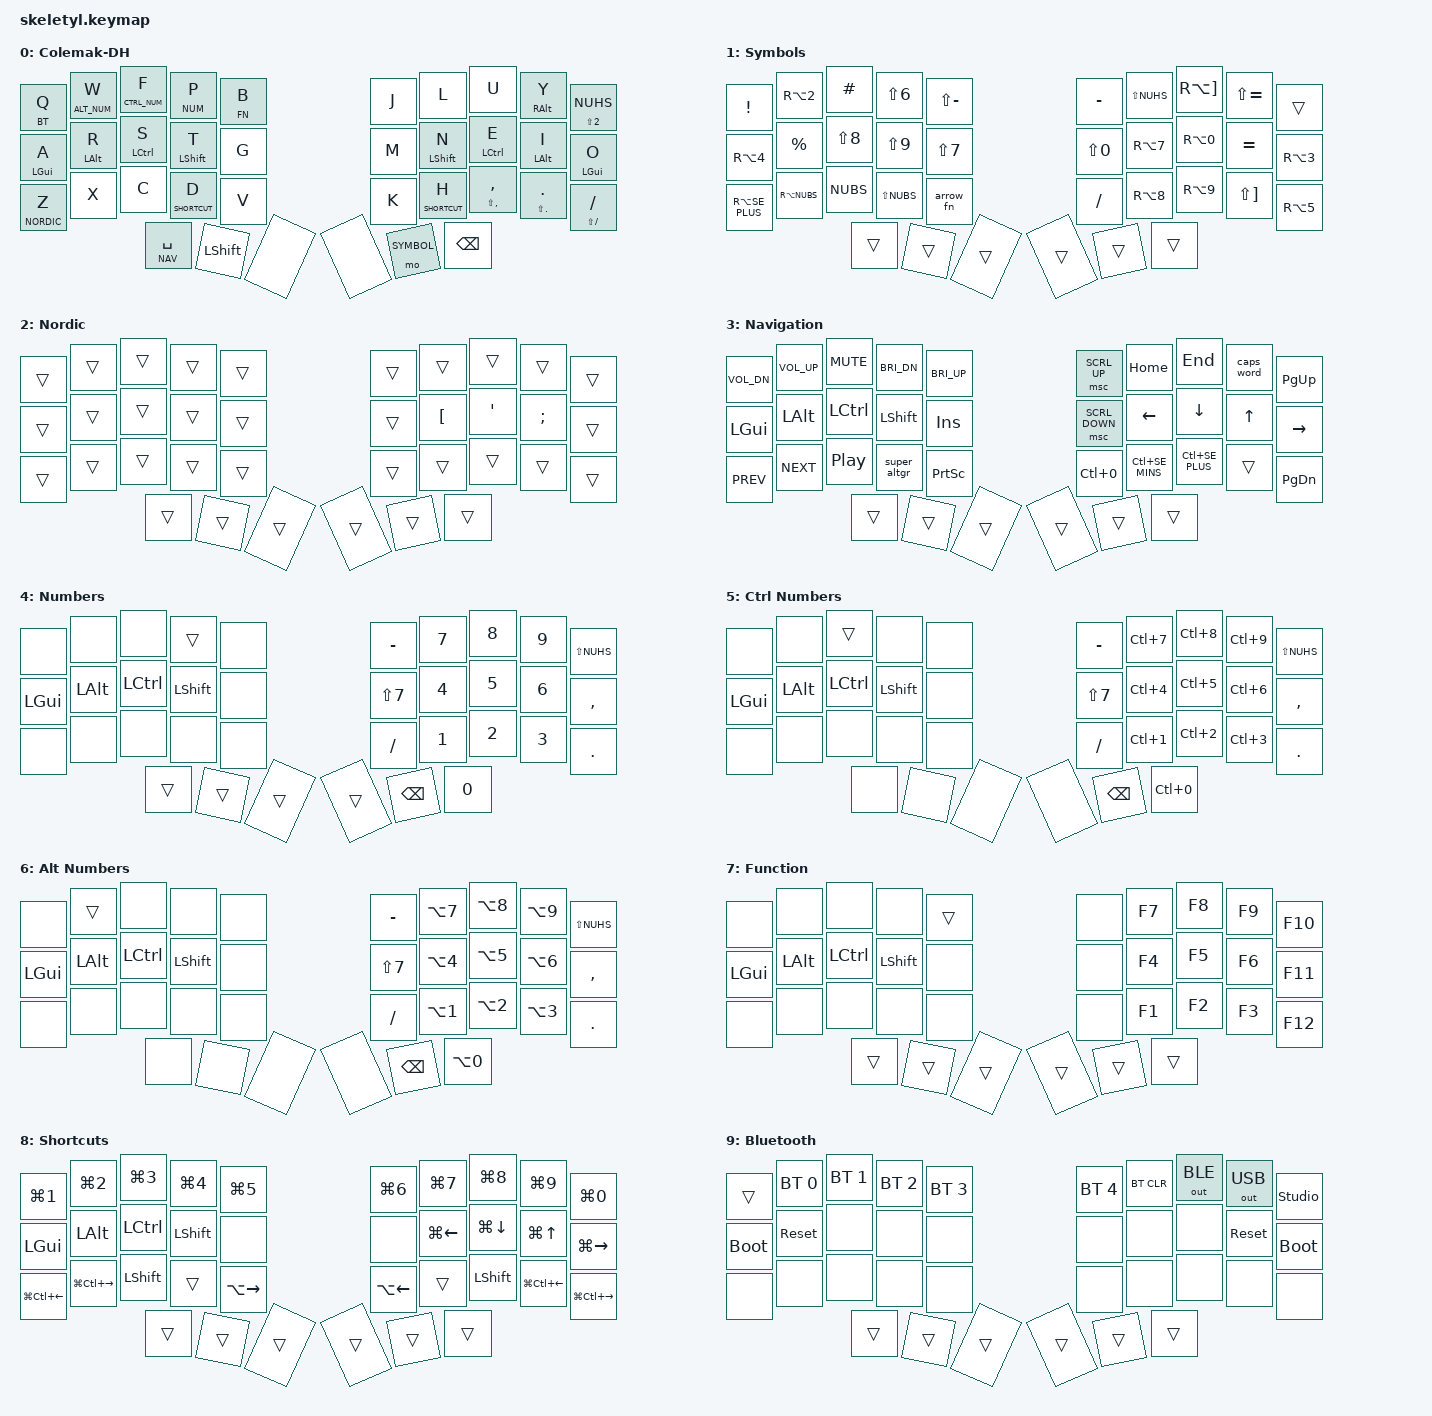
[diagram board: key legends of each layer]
#include <behaviors.dtsi>
#include <dt-bindings/zmk/keys.h>
#include <dt-bindings/zmk/bt.h>
#include <dt-bindings/zmk/outputs.h>
#include <dt-bindings/zmk/pointing.h>

#define BASE      0
#define SYMBOL    1
#define NORDIC    2
#define NAV       3
#define NUM       4
#define CTRL_NUM  5
#define ALT_NUM   6
#define FN        7
#define SHORTCUT  8
#define BT        9

// Swedish host-layout keycodes used by the original Moonlander keymap.
#define SE_APOS NUHS
#define SE_DQUO LS(N2)
#define SE_SCLN LS(COMMA)
#define SE_COLN LS(DOT)
#define SE_MINS FSLH
#define SE_UNDS LS(FSLH)
#define SE_AT RA(N2)
#define SE_AMPR LS(N6)
#define SE_QUES LS(MINUS)
#define SE_DLR RA(N4)
#define SE_LPRN LS(N8)
#define SE_RPRN LS(N9)
#define SE_SLSH LS(N7)
#define SE_PLUS MINUS
#define SE_PIPE RA(NUBS)
#define SE_LESS NUBS
#define SE_GRTR LS(NUBS)
#define SE_ASTR LS(NUHS)
#define SE_TILD RA(RBKT)
#define SE_GRV LS(EQUAL)
#define SE_EQL LS(N0)
#define SE_LCBR RA(N7)
#define SE_RCBR RA(N0)
#define SE_ACUT EQUAL
#define SE_PND RA(N3)
#define SE_LBRC RA(N8)
#define SE_RBRC RA(N9)
#define SE_CIRC LS(RBKT)
#define SE_EURO RA(N5)
#define SE_AA LBKT
#define SE_ADIA SQT
#define SE_OSLH SEMI

/ {
    behaviors {
        hm: home_row_mod {
            compatible = "zmk,behavior-hold-tap";
            #binding-cells = <2>;
            flavor = "balanced";
            tapping-term-ms = <220>;
            quick-tap-ms = <0>;
            bindings = <&kp>, <&kp>;
        };

        lh: layer_hold {
            compatible = "zmk,behavior-hold-tap";
            #binding-cells = <2>;
            flavor = "balanced";
            tapping-term-ms = <220>;
            quick-tap-ms = <0>;
            bindings = <&mo>, <&kp>;
        };

        // The Moonlander used a shorter tapping term for P.
        plh: p_layer_hold {
            compatible = "zmk,behavior-hold-tap";
            #binding-cells = <2>;
            flavor = "balanced";
            tapping-term-ms = <160>;
            quick-tap-ms = <0>;
            bindings = <&mo>, <&kp>;
        };
    };

    macros {
        arrow_fn: arrow_function {
            compatible = "zmk,behavior-macro";
            #binding-cells = <0>;
            wait-ms = <50>;
            tap-ms = <5>;
            bindings = <&kp SE_LPRN &kp SE_RPRN &kp SPACE &kp SE_EQL
                        &kp SE_GRTR &kp SPACE &kp SE_LCBR &kp SE_RCBR>;
        };

        super_altgr: super_altgr {
            compatible = "zmk,behavior-macro";
            #binding-cells = <0>;
            bindings =
                <&macro_press &kp LGUI &kp RALT>,
                <&macro_pause_for_release>,
                <&macro_release &kp RALT &kp LGUI>;
        };
    };

    combos {
        compatible = "zmk,combos";

        enter_combo {
            timeout-ms = <50>;
            key-positions = <6 7>;
            bindings = <&kp ENTER>;
        };

        tab_combo {
            timeout-ms = <50>;
            key-positions = <12 13>;
            bindings = <&kp TAB>;
        };

        delete_combo {
            timeout-ms = <50>;
            key-positions = <16 17>;
            bindings = <&kp DELETE>;
        };

        escape_combo {
            timeout-ms = <50>;
            key-positions = <2 3>;
            bindings = <&kp ESC>;
        };
    };

    keymap {
        compatible = "zmk,keymap";

        base_layer {
            display-name = "Colemak-DH";
            bindings = <
    &lh BT Q        &lh ALT_NUM W &lh CTRL_NUM F &plh NUM P   &lh FN B          &kp J       &kp L       &kp U       &hm RALT Y  &hm SE_DQUO SE_APOS
    &hm LGUI A      &hm LALT R    &hm LCTRL S    &hm LSHIFT T &kp G             &kp M       &hm LSHIFT N &hm LCTRL E  &hm LALT I  &hm LGUI O
    &lh NORDIC Z    &kp X         &kp C          &lh SHORTCUT D &kp V           &kp K       &lh SHORTCUT H &hm SE_SCLN COMMA &hm SE_COLN DOT &hm SE_UNDS SE_MINS
                                  &lh NAV SPACE  &kp LSHIFT   &none          &none &mo SYMBOL &kp BSPC
            >;
        };

        symbol_layer {
            display-name = "Symbols";
            bindings = <
    &kp EXCL       &kp SE_AT      &kp HASH       &kp SE_AMPR    &kp SE_QUES       &kp SE_PLUS &kp SE_ASTR &kp SE_TILD &kp SE_GRV  &trans
    &kp SE_DLR     &kp PRCNT      &kp SE_LPRN    &kp SE_RPRN    &kp SE_SLSH       &kp SE_EQL  &kp SE_LCBR &kp SE_RCBR &kp SE_ACUT &kp SE_PND
    &kp RA(SE_PLUS) &kp SE_PIPE   &kp SE_LESS    &kp SE_GRTR    &arrow_fn          &kp SE_MINS &kp SE_LBRC &kp SE_RBRC &kp SE_CIRC &kp SE_EURO
                                     &trans         &trans         &trans       &trans &trans &trans
            >;
        };

        nordic_layer {
            display-name = "Nordic";
            bindings = <
    &trans &trans &trans &trans &trans       &trans &trans    &trans      &trans    &trans
    &trans &trans &trans &trans &trans       &trans &kp SE_AA &kp SE_ADIA &kp SE_OSLH &trans
    &trans &trans &trans &trans &trans       &trans &trans    &trans      &trans    &trans
                         &trans &trans &trans       &trans &trans &trans
            >;
        };

        nav_layer {
            display-name = "Navigation";
            bindings = <
    &kp C_VOL_DN &kp C_VOL_UP &kp C_MUTE &kp C_BRI_DN &kp C_BRI_UP       &msc SCRL_UP   &kp HOME &kp END  &caps_word &kp PG_UP
    &kp LGUI     &kp LALT     &kp LCTRL  &kp LSHIFT   &kp INSERT         &msc SCRL_DOWN &kp LEFT &kp DOWN &kp UP     &kp RIGHT
    &kp C_PREV   &kp C_NEXT   &kp C_PP   &super_altgr   &kp PSCRN          &kp LC(N0) &kp LC(SE_MINS) &kp LC(SE_PLUS) &trans &kp PG_DN
                              &trans      &trans         &trans           &trans &trans &trans
            >;
        };

        num_layer {
            display-name = "Numbers";
            bindings = <
    &none    &none    &none     &trans     &none          &kp SE_PLUS &kp N7 &kp N8 &kp N9 &kp SE_ASTR
    &kp LGUI &kp LALT &kp LCTRL &kp LSHIFT &none          &kp SE_SLSH &kp N4 &kp N5 &kp N6 &kp COMMA
    &none    &none    &none     &none      &none          &kp SE_MINS &kp N1 &kp N2 &kp N3 &kp DOT
                            &trans &trans &trans           &trans &kp BSPC &kp N0
            >;
        };

        ctrl_num_layer {
            display-name = "Ctrl Numbers";
            bindings = <
    &none    &none    &trans    &none      &none          &kp SE_PLUS &kp LC(N7) &kp LC(N8) &kp LC(N9) &kp SE_ASTR
    &kp LGUI &kp LALT &kp LCTRL &kp LSHIFT &none          &kp SE_SLSH &kp LC(N4) &kp LC(N5) &kp LC(N6) &kp COMMA
    &none    &none    &none     &none      &none          &kp SE_MINS &kp LC(N1) &kp LC(N2) &kp LC(N3) &kp DOT
                            &none &none &none              &none &kp BSPC &kp LC(N0)
            >;
        };

        alt_num_layer {
            display-name = "Alt Numbers";
            bindings = <
    &none    &trans   &none     &none      &none          &kp SE_PLUS &kp LA(N7) &kp LA(N8) &kp LA(N9) &kp SE_ASTR
    &kp LGUI &kp LALT &kp LCTRL &kp LSHIFT &none          &kp SE_SLSH &kp LA(N4) &kp LA(N5) &kp LA(N6) &kp COMMA
    &none    &none    &none     &none      &none          &kp SE_MINS &kp LA(N1) &kp LA(N2) &kp LA(N3) &kp DOT
                            &none &none &none              &none &kp BSPC &kp LA(N0)
            >;
        };

        fn_layer {
            display-name = "Function";
            bindings = <
    &none    &none &none &none &trans       &none &kp F7 &kp F8 &kp F9 &kp F10
    &kp LGUI &kp LALT &kp LCTRL &kp LSHIFT &none  &none &kp F4 &kp F5 &kp F6 &kp F11
    &none    &none &none &none &none        &none &kp F1 &kp F2 &kp F3 &kp F12
                        &trans &trans &trans       &trans &trans &trans
            >;
        };

        shortcut_layer {
            display-name = "Shortcuts";
            bindings = <
    &kp LG(N1) &kp LG(N2) &kp LG(N3) &kp LG(N4) &kp LG(N5)       &kp LG(N6) &kp LG(N7) &kp LG(N8) &kp LG(N9) &kp LG(N0)
    &kp LGUI   &kp LALT   &kp LCTRL  &kp LSHIFT &none            &none &kp LG(LEFT) &kp LG(DOWN) &kp LG(UP) &kp LG(RIGHT)
    &kp LG(LC(LEFT)) &kp LG(LC(RIGHT)) &kp LSHIFT &trans &kp LA(RIGHT)   &kp LA(LEFT) &trans &kp LSHIFT &kp LG(LC(LEFT)) &kp LG(LC(RIGHT))
                                             &trans &trans &trans       &trans &trans &trans
            >;
        };

        bluetooth_layer {
            display-name = "Bluetooth";
            bindings = <
    &trans &bt BT_SEL 0 &bt BT_SEL 1 &bt BT_SEL 2 &bt BT_SEL 3       &bt BT_SEL 4 &bt BT_CLR &out OUT_BLE &out OUT_USB &studio_unlock
    &bootloader &sys_reset &none &none &none                         &none &none &none &sys_reset &bootloader
    &none &none &none &none &none                                   &none &none &none &none &none
                       &trans &trans &trans                           &trans &trans &trans
            >;
        };
    };
};
